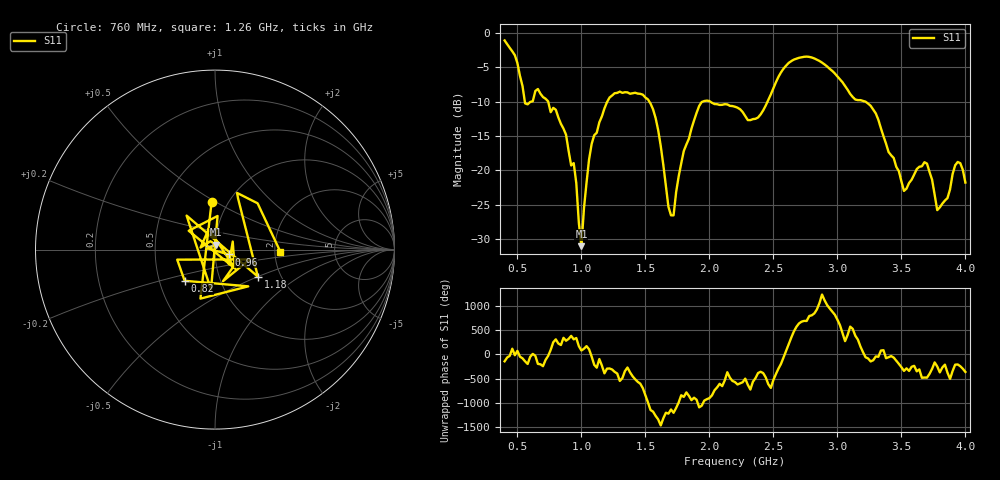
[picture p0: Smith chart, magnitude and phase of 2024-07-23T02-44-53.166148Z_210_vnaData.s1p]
!Created with skrf (http://scikit-rf.org).
# Hz S RI R 50.0
!freq ReS11 ImS11
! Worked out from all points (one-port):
!   181 points, 400 MHz to 4 GHz, reference 50 ohm
!   lowest |S11| = -31.0 dB at 1 GHz (marker M1), VSWR 1.06, Z = 50.3 + j2.8 ohm
!   |S11| at or under -10 dB: 740.5 MHz to 1.202 GHz (461.6 MHz wide, 47.5 % of centre); 2.007 GHz to 2.454 GHz (447 MHz wide, 20 % of centre); 3.219 GHz to end of sweep (the widest 3 of 5)
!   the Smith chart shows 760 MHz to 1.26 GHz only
!   S11 on the Smith chart (normalised r, x): 760 MHz: 0.84, +0.48; 820 MHz: 0.67, -0.25; 960 MHz: 1.16, -0.06; 1.18 GHz: 1.53, -0.50; 1.26 GHz: 2.14, -0.06
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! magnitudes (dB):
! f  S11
! 400 MHz  -1.1
! 500 MHz  -4.4
! 560 MHz  -10.3
! 660 MHz  -8.2
! 760 MHz  -11.5
! 820 MHz  -12.3
! 860 MHz  -13.9
! 960 MHz  -21.9
! 1 GHz  -31.0
! 1.08 GHz  -16.2
! 1.18 GHz  -11.0
! 1.26 GHz  -8.8
! 1.3 GHz  -8.5
! 1.56 GHz  -11.1
! 1.7 GHz  -26.5
! 1.76 GHz  -20.9
! 1.94 GHz  -10.1
! 2.2 GHz  -10.7
! 2.38 GHz  -12.3
! 2.66 GHz  -3.9
! 3.1 GHz  -8.9
! 3.3 GHz  -11.7
! 3.52 GHz  -23.0
! 3.56 GHz  -21.8
! 3.7 GHz  -19.0
! 3.78 GHz  -25.8
! 3.94 GHz  -18.8
! 4 GHz  -21.8
